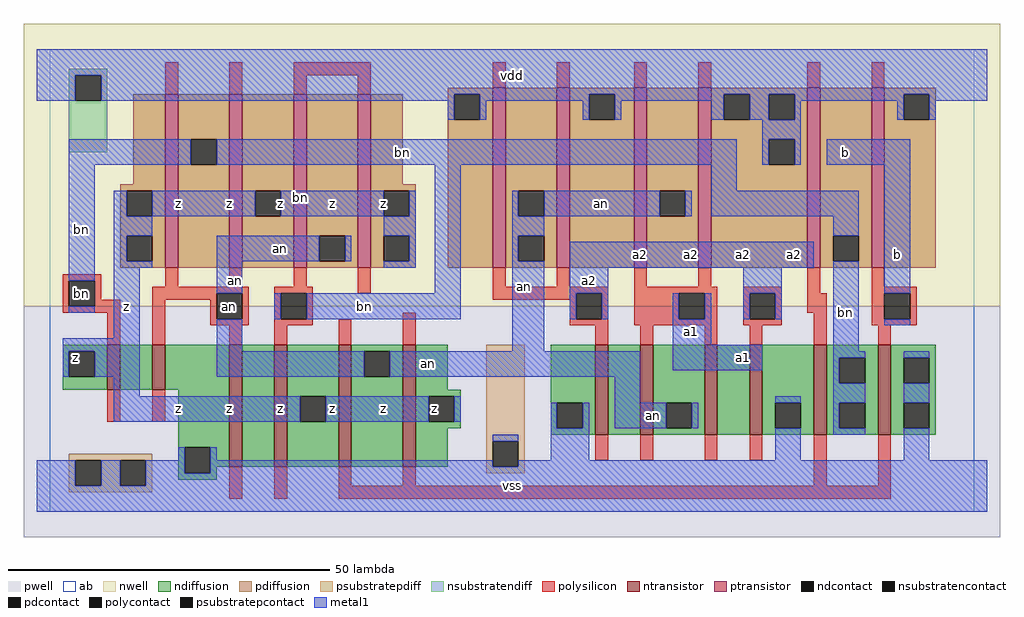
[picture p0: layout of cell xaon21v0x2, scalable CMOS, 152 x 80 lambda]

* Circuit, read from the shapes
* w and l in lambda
.subckt xaon21v0x2 a1 a2 an b bn vdd vss z
M1 n1 bn z vss nfet w=7 l=2
M2 vss an n1 vss nfet w=7 l=2
M3 n2 an vss vss nfet w=19 l=2
M4 z bn n2 vss nfet w=19 l=2
M5 an b z vss nfet w=19 l=2 m=2
M6 n3 a2 vss vss nfet w=14 l=2
M7 an a1 n3 vss nfet w=14 l=2
M8 n4 a1 an vss nfet w=14 l=2
M9 vss a2 n4 vss nfet w=14 l=2
M10 bn b vss vss nfet w=14 l=2 m=2
M11 bn an z vdd pfet w=27 l=2 m=2
M12 an bn z vdd pfet w=27 l=2 m=2
M13 an a2 vdd vdd pfet w=28 l=2 m=2
M14 an a1 vdd vdd pfet w=28 l=2 m=2
M15 bn b vdd vdd pfet w=28 l=2 m=2
.ends

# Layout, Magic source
magic
tech scmos
<< ab >>
rect 0 0 144 72
<< pwell >>
rect -4 -4 148 32
<< nwell >>
rect -4 32 148 76
<< polysilicon >>
rect 18 65 20 70
rect 28 65 30 70
rect 38 68 50 70
rect 38 65 40 68
rect 48 65 50 68
rect 69 66 71 70
rect 79 66 81 70
rect 91 66 93 70
rect 101 66 103 70
rect 118 66 120 70
rect 128 66 130 70
rect 2 36 8 37
rect 2 32 3 36
rect 7 33 8 36
rect 18 35 20 38
rect 28 35 30 38
rect 38 35 40 38
rect 16 34 31 35
rect 16 33 26 34
rect 7 32 11 33
rect 2 31 11 32
rect 9 26 11 31
rect 16 26 18 33
rect 25 30 26 33
rect 30 30 31 34
rect 25 29 31 30
rect 35 34 41 35
rect 48 34 50 38
rect 69 35 71 38
rect 79 35 81 38
rect 91 35 93 38
rect 101 35 103 38
rect 69 34 87 35
rect 35 30 36 34
rect 40 30 41 34
rect 69 33 82 34
rect 35 29 41 30
rect 28 26 30 29
rect 35 26 37 29
rect 45 26 47 30
rect 55 26 57 31
rect 81 30 82 33
rect 86 30 87 34
rect 81 29 87 30
rect 91 34 104 35
rect 91 30 98 34
rect 102 30 104 34
rect 91 29 104 30
rect 108 34 114 35
rect 108 30 109 34
rect 113 30 114 34
rect 118 34 120 38
rect 128 35 130 38
rect 128 34 135 35
rect 118 31 121 34
rect 108 29 114 30
rect 85 26 87 29
rect 92 26 94 29
rect 102 26 104 29
rect 109 26 111 29
rect 119 26 121 31
rect 128 30 130 34
rect 134 30 135 34
rect 128 29 135 30
rect 129 26 131 29
rect 9 14 11 19
rect 16 14 18 19
rect 85 8 87 12
rect 92 8 94 12
rect 102 8 104 12
rect 109 8 111 12
rect 28 2 30 7
rect 35 2 37 7
rect 45 4 47 7
rect 55 4 57 7
rect 119 4 121 12
rect 129 4 131 12
rect 45 2 131 4
<< ndiffusion >>
rect 2 25 9 26
rect 2 21 3 25
rect 7 21 9 25
rect 2 19 9 21
rect 11 19 16 26
rect 18 19 28 26
rect 20 10 28 19
rect 20 6 21 10
rect 25 7 28 10
rect 30 7 35 26
rect 37 18 45 26
rect 37 14 39 18
rect 43 14 45 18
rect 37 7 45 14
rect 47 25 55 26
rect 47 21 49 25
rect 53 21 55 25
rect 47 7 55 21
rect 57 19 62 26
rect 57 18 64 19
rect 57 14 59 18
rect 63 14 64 18
rect 57 13 64 14
rect 57 7 62 13
rect 78 17 85 26
rect 78 13 79 17
rect 83 13 85 17
rect 78 12 85 13
rect 87 12 92 26
rect 94 17 102 26
rect 94 13 96 17
rect 100 13 102 17
rect 94 12 102 13
rect 104 12 109 26
rect 111 17 119 26
rect 111 13 113 17
rect 117 13 119 17
rect 111 12 119 13
rect 121 24 129 26
rect 121 20 123 24
rect 127 20 129 24
rect 121 17 129 20
rect 121 13 123 17
rect 127 13 129 17
rect 121 12 129 13
rect 131 24 138 26
rect 131 20 133 24
rect 137 20 138 24
rect 131 17 138 20
rect 131 13 133 17
rect 137 13 138 17
rect 131 12 138 13
rect 25 6 26 7
rect 20 5 26 6
<< pdiffusion >>
rect 62 65 69 66
rect 13 51 18 65
rect 11 50 18 51
rect 11 46 12 50
rect 16 46 18 50
rect 11 43 18 46
rect 11 39 12 43
rect 16 39 18 43
rect 11 38 18 39
rect 20 58 28 65
rect 20 54 22 58
rect 26 54 28 58
rect 20 38 28 54
rect 30 50 38 65
rect 30 46 32 50
rect 36 46 38 50
rect 30 38 38 46
rect 40 43 48 65
rect 40 39 42 43
rect 46 39 48 43
rect 40 38 48 39
rect 50 51 55 65
rect 62 61 63 65
rect 67 61 69 65
rect 50 50 57 51
rect 50 46 52 50
rect 56 46 57 50
rect 50 43 57 46
rect 50 39 52 43
rect 56 39 57 43
rect 50 38 57 39
rect 62 38 69 61
rect 71 50 79 66
rect 71 46 73 50
rect 77 46 79 50
rect 71 43 79 46
rect 71 39 73 43
rect 77 39 79 43
rect 71 38 79 39
rect 81 65 91 66
rect 81 61 84 65
rect 88 61 91 65
rect 81 38 91 61
rect 93 50 101 66
rect 93 46 95 50
rect 99 46 101 50
rect 93 38 101 46
rect 103 65 118 66
rect 103 61 105 65
rect 109 61 112 65
rect 116 61 118 65
rect 103 58 118 61
rect 103 54 112 58
rect 116 54 118 58
rect 103 38 118 54
rect 120 43 128 66
rect 120 39 122 43
rect 126 39 128 43
rect 120 38 128 39
rect 130 65 138 66
rect 130 61 133 65
rect 137 61 138 65
rect 130 38 138 61
<< metal1 >>
rect -2 68 146 72
rect -2 64 4 68
rect 8 65 146 68
rect 8 64 63 65
rect 62 61 63 64
rect 67 64 84 65
rect 67 61 68 64
rect 83 61 84 64
rect 88 64 105 65
rect 88 61 89 64
rect 103 61 105 64
rect 109 61 112 65
rect 116 64 133 65
rect 116 61 117 64
rect 132 61 133 64
rect 137 64 146 65
rect 137 61 138 64
rect 111 58 117 61
rect 3 54 22 58
rect 26 54 107 58
rect 111 54 112 58
rect 116 54 117 58
rect 121 54 134 58
rect 3 36 7 54
rect 3 31 7 32
rect 10 46 12 50
rect 16 46 32 50
rect 36 46 52 50
rect 56 46 57 50
rect 10 43 16 46
rect 52 43 57 46
rect 10 39 12 43
rect 10 38 16 39
rect 26 39 42 43
rect 46 39 47 43
rect 56 39 57 43
rect 10 27 14 38
rect 2 25 14 27
rect 2 21 3 25
rect 7 21 14 25
rect 26 34 30 39
rect 52 38 57 39
rect 60 34 64 54
rect 103 50 107 54
rect 35 30 36 34
rect 40 30 64 34
rect 72 46 73 50
rect 77 46 95 50
rect 99 46 100 50
rect 103 46 126 50
rect 72 43 77 46
rect 72 39 73 43
rect 122 43 126 46
rect 26 25 30 30
rect 72 25 77 39
rect 81 38 119 42
rect 81 34 87 38
rect 108 34 114 38
rect 81 30 82 34
rect 86 30 87 34
rect 97 30 98 34
rect 102 30 103 34
rect 108 30 109 34
rect 113 30 114 34
rect 97 26 103 30
rect 26 21 49 25
rect 53 21 92 25
rect 97 22 111 26
rect 122 25 126 39
rect 130 34 134 54
rect 130 29 134 30
rect 122 24 127 25
rect 10 18 14 21
rect 10 14 39 18
rect 43 14 59 18
rect 63 14 64 18
rect 88 17 92 21
rect 122 20 123 24
rect 113 17 117 18
rect 78 13 79 17
rect 83 13 84 17
rect 88 13 96 17
rect 100 13 101 17
rect 69 11 73 12
rect 20 8 21 10
rect -2 4 4 8
rect 8 4 11 8
rect 15 6 21 8
rect 25 8 26 10
rect 25 7 69 8
rect 78 8 84 13
rect 113 8 117 13
rect 122 17 127 20
rect 122 13 123 17
rect 122 12 127 13
rect 133 24 137 25
rect 133 17 137 20
rect 133 8 137 13
rect 73 7 146 8
rect 25 6 146 7
rect 15 4 146 6
rect -2 0 146 4
<< ntransistor >>
rect 9 19 11 26
rect 16 19 18 26
rect 28 7 30 26
rect 35 7 37 26
rect 45 7 47 26
rect 55 7 57 26
rect 85 12 87 26
rect 92 12 94 26
rect 102 12 104 26
rect 109 12 111 26
rect 119 12 121 26
rect 129 12 131 26
<< ptransistor >>
rect 18 38 20 65
rect 28 38 30 65
rect 38 38 40 65
rect 48 38 50 65
rect 69 38 71 66
rect 79 38 81 66
rect 91 38 93 66
rect 101 38 103 66
rect 118 38 120 66
rect 128 38 130 66
<< polycontact >>
rect 3 32 7 36
rect 26 30 30 34
rect 36 30 40 34
rect 82 30 86 34
rect 98 30 102 34
rect 109 30 113 34
rect 130 30 134 34
<< ndcontact >>
rect 3 21 7 25
rect 21 6 25 10
rect 39 14 43 18
rect 49 21 53 25
rect 59 14 63 18
rect 79 13 83 17
rect 96 13 100 17
rect 113 13 117 17
rect 123 20 127 24
rect 123 13 127 17
rect 133 20 137 24
rect 133 13 137 17
<< pdcontact >>
rect 12 46 16 50
rect 12 39 16 43
rect 22 54 26 58
rect 32 46 36 50
rect 42 39 46 43
rect 63 61 67 65
rect 52 46 56 50
rect 52 39 56 43
rect 73 46 77 50
rect 73 39 77 43
rect 84 61 88 65
rect 95 46 99 50
rect 105 61 109 65
rect 112 61 116 65
rect 112 54 116 58
rect 122 39 126 43
rect 133 61 137 65
<< psubstratepcontact >>
rect 4 4 8 8
rect 11 4 15 8
rect 69 7 73 11
<< nsubstratencontact >>
rect 4 64 8 68
<< psubstratepdiff >>
rect 3 8 16 9
rect 3 4 4 8
rect 8 4 11 8
rect 15 4 16 8
rect 68 11 74 26
rect 68 7 69 11
rect 73 7 74 11
rect 3 3 16 4
rect 68 6 74 7
<< nsubstratendiff >>
rect 3 68 9 69
rect 3 64 4 68
rect 8 64 9 68
rect 3 56 9 64
<< labels >>
rlabel polycontact 5 34 5 34 6 bn
rlabel polysilicon 29 36 29 36 6 an
rlabel ptransistor 39 49 39 49 6 bn
rlabel metal1 20 16 20 16 6 z
rlabel ndcontact 4 24 4 24 6 z
rlabel metal1 12 32 12 32 6 z
rlabel metal1 20 48 20 48 6 z
rlabel metal1 5 44 5 44 6 bn
rlabel metal1 36 16 36 16 6 z
rlabel metal1 44 16 44 16 6 z
rlabel metal1 52 16 52 16 6 z
rlabel metal1 28 16 28 16 6 z
rlabel metal1 36 41 36 41 6 an
rlabel polycontact 28 32 28 32 6 an
rlabel metal1 28 48 28 48 6 z
rlabel metal1 36 48 36 48 6 z
rlabel metal1 44 48 44 48 6 z
rlabel metal1 52 48 52 48 6 z
rlabel metal1 72 4 72 4 6 vss
rlabel ndcontact 60 16 60 16 6 z
rlabel metal1 49 32 49 32 6 bn
rlabel metal1 84 36 84 36 6 a2
rlabel metal1 74 35 74 35 6 an
rlabel metal1 72 68 72 68 6 vdd
rlabel metal1 94 15 94 15 6 an
rlabel metal1 59 23 59 23 6 an
rlabel metal1 108 24 108 24 6 a1
rlabel metal1 100 28 100 28 6 a1
rlabel metal1 100 40 100 40 6 a2
rlabel metal1 108 40 108 40 6 a2
rlabel metal1 92 40 92 40 6 a2
rlabel metal1 86 48 86 48 6 an
rlabel metal1 55 56 55 56 6 bn
rlabel metal1 116 40 116 40 6 a2
rlabel metal1 132 40 132 40 6 b
rlabel metal1 124 31 124 31 6 bn
rlabel metal1 124 56 124 56 6 b
<< end >>
